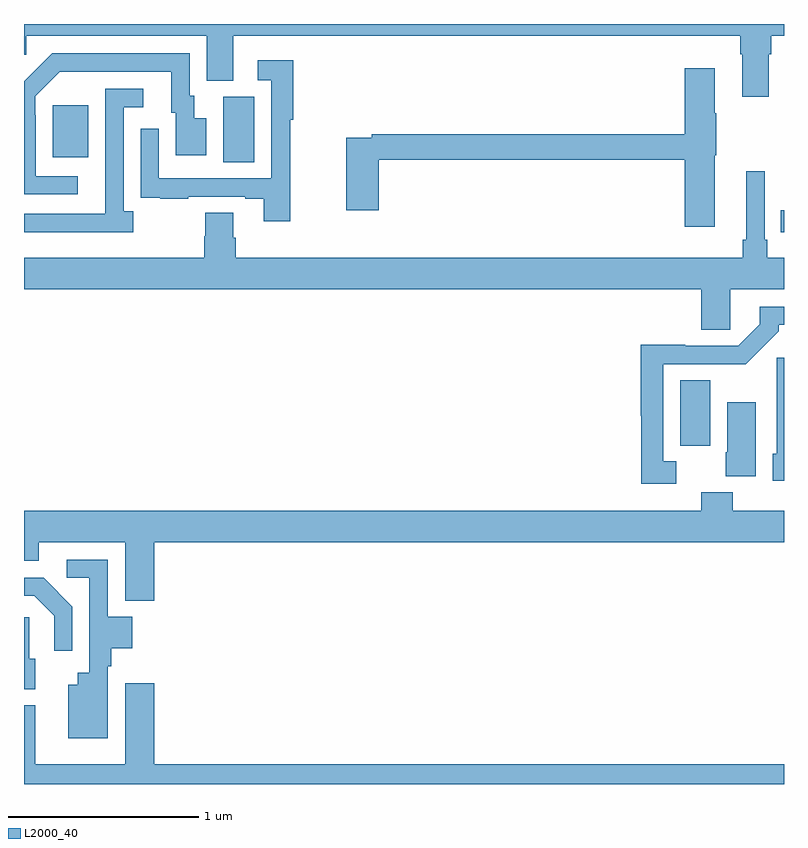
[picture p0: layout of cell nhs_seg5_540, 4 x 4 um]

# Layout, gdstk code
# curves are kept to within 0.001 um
import gdstk
lib = gdstk.Library(unit=1e-6, precision=1e-09)
def R(c, l, rs):  # rectangles x0, y0, x1, y1
    for r in rs: c.add(gdstk.rectangle(r[:2], r[2:], *l))
def P(c, l, *ps):  # polygons
    for p in ps: c.add(gdstk.Polygon(p, *l))
L2000_40 = (2000, 40)

nhs_seg5_540 = lib.new_cell('nhs_seg5_540')
R(nhs_seg5_540, L2000_40, [(148.454,878.58,148.612,878.924), (148.984,879.702,149,879.818), (146.048,880.072,146.212,880.416), (145.151,880.097,145.339,880.372)])
P(nhs_seg5_540, L2000_40, [(148.921,880.64),(148.934,880.64),(148.934,880.736),(149,880.736),(149,880.799),(145,880.799),(145,880.638),(145.011,880.638),(145.011,880.736),(145.961,880.736),(145.961,880.501),(146.101,880.501),(146.101,880.736),(148.769,880.736),(148.769,880.64),(148.781,880.64),(148.781,880.416),(148.921,880.416)],
  [(145.282,879.999),(145.062,879.999),(145.062,880.319),(145.059,880.319),(145.059,880.419),(145.188,880.548),(145.775,880.548),(145.775,880.332),(145.799,880.332),(145.799,880.107),(145.96,880.107),(145.96,880.303),(145.897,880.303),(145.897,880.422),(145.872,880.422),(145.872,880.644),(145.148,880.644),(145,880.498),(145,879.903),(145.282,879.903)],
  [(146.402,880.296),(146.417,880.296),(146.417,880.609),(146.229,880.609),(146.229,880.503),(146.301,880.503),(146.301,879.987),(145.71,879.987),(145.71,880.249),(145.614,880.249),(145.614,879.994),(145.615,879.994),(145.615,879.885),(145.717,879.885),(145.717,879.879),(145.865,879.879),(145.865,879.891),(146.165,879.891),(146.165,879.879),(146.261,879.879),(146.261,879.762),(146.402,879.762)],
  [(148.636,880.107),(148.644,880.107),(148.644,880.328),(148.636,880.328),(148.636,880.567),(148.478,880.567),(148.478,880.22),(146.83,880.22),(146.83,880.2),(146.696,880.2),(146.696,879.819),(146.867,879.819),(146.867,880.084),(148.478,880.084),(148.478,879.732),(148.636,879.732)],
  [(145.576,879.814),(145.524,879.814),(145.524,880.362),(145.627,880.362),(145.627,880.458),(145.428,880.458),(145.428,880.001),(145.427,880.001),(145.427,879.801),(145,879.801),(145,879.704),(145.576,879.704)],
  [(148.716,879.404),(149,879.404),(149,879.568),(148.913,879.568),(148.913,879.664),(148.899,879.664),(148.899,880.024),(148.802,880.024),(148.802,879.664),(148.783,879.664),(148.783,879.568),(146.114,879.568),(146.114,879.674),(146.101,879.674),(146.101,879.806),(145.954,879.806),(145.954,879.681),(145.949,879.681),(145.949,879.568),(145,879.568),(145,879.404),(148.565,879.404),(148.565,879.19),(148.716,879.19)],
  [(148.432,878.499),(148.365,878.499),(148.365,879.009),(148.798,879.008),(148.972,879.181),(148.972,879.215),(149,879.215),(149,879.312),(148.872,879.312),(148.872,879.219),(148.758,879.105),(148.481,879.105),(148.481,879.11),(148.245,879.11),(148.245,878.736),(148.249,878.736),(148.249,878.379),(148.432,878.379)],
  [(149,879.043),(148.962,879.043),(148.962,878.538),(148.94,878.538),(148.94,878.394),(149,878.394)],
  [(148.852,878.809),(148.7,878.809),(148.7,878.544),(148.694,878.544),(148.694,878.42),(148.852,878.42)],
  [(145.685,878.072),(149,878.072),(149,878.236),(148.73,878.236),(148.73,878.335),(148.565,878.335),(148.565,878.236),(145,878.236),(145,877.973),(145.078,877.973),(145.078,878.072),(145.532,878.072),(145.532,877.763),(145.685,877.763)],
  [(145.441,877.418),(145.46,877.418),(145.46,877.514),(145.57,877.514),(145.57,877.678),(145.44,877.678),(145.44,877.98),(145.224,877.98),(145.224,877.884),(145.344,877.884),(145.344,877.384),(145.283,877.384),(145.283,877.321),(145.232,877.321),(145.232,877.04),(145.441,877.04)],
  [(145.254,877.732),(145.178,877.808),(145.179,877.809),(145.104,877.884),(145,877.884),(145,877.79),(145.054,877.79),(145.16,877.685),(145.16,877.5),(145.254,877.5)],
  [(145.06,877.459),(145.027,877.459),(145.027,877.677),(145,877.677),(145,877.298),(145.06,877.298)],
  [(149,876.904),(145.685,876.904),(145.685,877.33),(145.532,877.33),(145.532,876.904),(145.06,876.904),(145.06,877.213),(145,877.213),(145,876.799),(149,876.799)])

lib.write_gds('nhs_seg5_540.gds')
